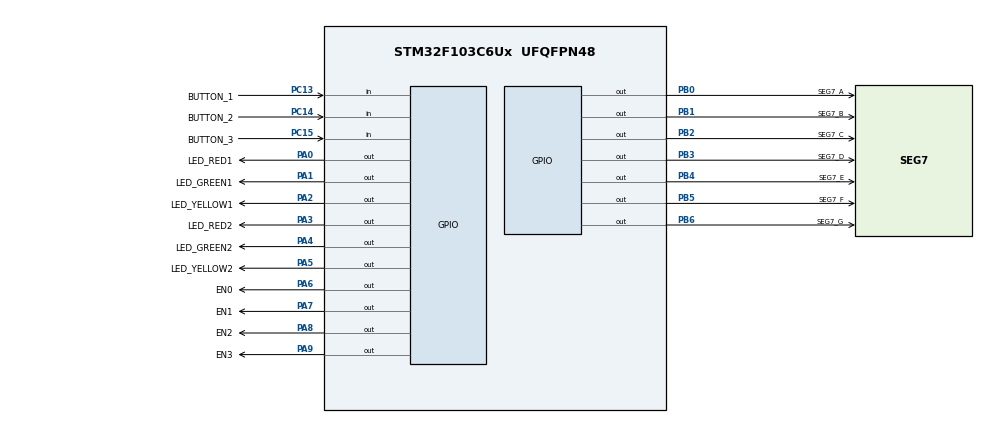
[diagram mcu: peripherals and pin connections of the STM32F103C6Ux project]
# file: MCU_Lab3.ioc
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Mcu.Family=STM32F1
Mcu.Name=STM32F103C6Ux
Mcu.Package=UFQFPN48
NVIC.PriorityGroup=NVIC_PRIORITYGROUP_4
NVIC.TIM2_IRQn=true\:0\:0\:false\:false\:true\:true\:true
PA0-WKUP.GPIO_Label=LED_RED1
PA0-WKUP.Signal=GPIO_Output
PA1.GPIO_Label=LED_GREEN1
PA1.Signal=GPIO_Output
PA2.GPIO_Label=LED_YELLOW1
PA2.Signal=GPIO_Output
PA3.GPIO_Label=LED_RED2
PA3.Signal=GPIO_Output
PA4.GPIO_Label=LED_GREEN2
PA4.Signal=GPIO_Output
PA5.GPIO_Label=LED_YELLOW2
PA5.Signal=GPIO_Output
PA6.GPIO_Label=EN0
PA6.Signal=GPIO_Output
PA7.GPIO_Label=EN1
PA7.Signal=GPIO_Output
PA8.GPIO_Label=EN2
PA8.Signal=GPIO_Output
PA9.GPIO_Label=EN3
PA9.Signal=GPIO_Output
PB0.GPIO_Label=SEG7_A
PB0.Signal=GPIO_Output
PB1.GPIO_Label=SEG7_B
PB1.Signal=GPIO_Output
PB2.GPIO_Label=SEG7_C
PB2.Signal=GPIO_Output
PB3.GPIO_Label=SEG7_D
PB3.Signal=GPIO_Output
PB4.GPIO_Label=SEG7_E
PB4.Signal=GPIO_Output
PB5.GPIO_Label=SEG7_F
PB5.Signal=GPIO_Output
PB6.GPIO_Label=SEG7_G
PB6.Signal=GPIO_Output
PC13-TAMPER-RTC.GPIO_Label=BUTTON_1
PC13-TAMPER-RTC.GPIO_PuPd=GPIO_PULLUP
PC13-TAMPER-RTC.Signal=GPIO_Input
PC14-OSC32_IN.GPIO_Label=BUTTON_2
PC14-OSC32_IN.GPIO_PuPd=GPIO_PULLUP
PC14-OSC32_IN.Signal=GPIO_Input
PC15-OSC32_OUT.GPIO_Label=BUTTON_3
PC15-OSC32_OUT.GPIO_PuPd=GPIO_PULLUP
PC15-OSC32_OUT.Signal=GPIO_Input
ProjectManager.HeapSize=0x200
ProjectManager.StackSize=0x400
ProjectManager.TargetToolchain=STM32CubeIDE
RCC.APB1Freq_Value=8000000
RCC.APB2Freq_Value=8000000
TIM2.Period=9
TIM2.Prescaler=7999
VP_SYS_VS_ND.Mode=No_Debug
VP_TIM2_VS_ClockSourceINT.Mode=Internal
board=custom

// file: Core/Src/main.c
/* USER CODE BEGIN Header */
/**
  ******************************************************************************
  * @file           : main.c
  * @brief          : Main program body
  ******************************************************************************
  * @attention
  *
  * <h2><center>&copy; Copyright (c) 2023 STMicroelectronics.
  * All rights reserved.</center></h2>
  *
  * This software component is licensed by ST under BSD 3-Clause license,
  * the "License"; You may not use this file except in compliance with the
  * License. You may obtain a copy of the License at:
  *                        opensource.org/licenses/BSD-3-Clause
  *
  ******************************************************************************
  */
/* USER CODE END Header */
#include "main.h"

/* USER CODE BEGIN Includes */
#include "software_timer.h"
#include "button.h"
#include "fsm_automatic.h"
#include "fsm_manual.h"
/* USER CODE END Includes */

TIM_HandleTypeDef htim2;

void SystemClock_Config(void);
static void MX_GPIO_Init(void);
static void MX_TIM2_Init(void);

int main(void)
{

  /* MCU Configuration--------------------------------------------------------*/

  /* Reset of all peripherals, Initializes the Flash interface and the Systick. */
  HAL_Init();

  /* Configure the system clock */
  SystemClock_Config();

  /* Initialize all configured peripherals */
  MX_GPIO_Init();
  MX_TIM2_Init();
  /* USER CODE BEGIN 2 */
  HAL_TIM_Base_Start_IT(&htim2);
  /* USER CODE END 2 */

  /* Infinite loop */
  /* USER CODE BEGIN WHILE */
  status = INIT;
  setTimer(250, 1);
  while (1)
  {
//	  if(HAL_GPIO_ReadPin(BUTTON_1_GPIO_Port, BUTTON_1_Pin) == GPIO_PIN_RESET){
//		  HAL_GPIO_TogglePin(LED_RED1_GPIO_Port, LED_RED1_Pin);
//	  }

//	  if(isButton1Pressed(0) == 1){
//		  HAL_GPIO_TogglePin(LED_RED1_GPIO_Port, LED_RED1_Pin);
//	  }
//	  if(isButton1Pressed(1) == 1){
//		  HAL_GPIO_TogglePin(LED_GREEN1_GPIO_Port, LED_GREEN1_Pin);
//	  }
//	  if(isButton1Pressed(2) == 1){
//		  HAL_GPIO_TogglePin(LED_YELLOW1_GPIO_Port, LED_YELLOW1_Pin);
//	  }

	  fsm_automatic_run();
	  fsm_manual_run();
	  if(timer_flag[1] == 1){
	  		setTimer(250, 1);
	  		update7SEG(index_led);
	  		index_led++;
	  		if(index_led >= MAX_LED) index_led = 0;
	  }

    /* USER CODE END WHILE */

  }
}

void SystemClock_Config(void)
{
  RCC_OscInitTypeDef RCC_OscInitStruct = {0};
  RCC_ClkInitTypeDef RCC_ClkInitStruct = {0};

  /** Initializes the RCC Oscillators according to the specified parameters
  * in the RCC_OscInitTypeDef structure.
  */
  RCC_OscInitStruct.OscillatorType = RCC_OSCILLATORTYPE_HSI;
  RCC_OscInitStruct.HSIState = RCC_HSI_ON;
  RCC_OscInitStruct.HSICalibrationValue = RCC_HSICALIBRATION_DEFAULT;
  RCC_OscInitStruct.PLL.PLLState = RCC_PLL_NONE;
  if (HAL_RCC_OscConfig(&RCC_OscInitStruct) != HAL_OK)
  {
    Error_Handler();
  }
  /** Initializes the CPU, AHB and APB buses clocks
  */
  RCC_ClkInitStruct.ClockType = RCC_CLOCKTYPE_HCLK|RCC_CLOCKTYPE_SYSCLK
                              |RCC_CLOCKTYPE_PCLK1|RCC_CLOCKTYPE_PCLK2;
  RCC_ClkInitStruct.SYSCLKSource = RCC_SYSCLKSOURCE_HSI;
  RCC_ClkInitStruct.AHBCLKDivider = RCC_SYSCLK_DIV1;
  RCC_ClkInitStruct.APB1CLKDivider = RCC_HCLK_DIV1;
  RCC_ClkInitStruct.APB2CLKDivider = RCC_HCLK_DIV1;

  if (HAL_RCC_ClockConfig(&RCC_ClkInitStruct, FLASH_LATENCY_0) != HAL_OK)
  {
    Error_Handler();
  }
}

static void MX_TIM2_Init(void)
{

  TIM_ClockConfigTypeDef sClockSourceConfig = {0};
  TIM_MasterConfigTypeDef sMasterConfig = {0};

  htim2.Instance = TIM2;
  htim2.Init.Prescaler = 7999;
  htim2.Init.CounterMode = TIM_COUNTERMODE_UP;
  htim2.Init.Period = 9;
  htim2.Init.ClockDivision = TIM_CLOCKDIVISION_DIV1;
  htim2.Init.AutoReloadPreload = TIM_AUTORELOAD_PRELOAD_DISABLE;
  if (HAL_TIM_Base_Init(&htim2) != HAL_OK)
  {
    Error_Handler();
  }
  sClockSourceConfig.ClockSource = TIM_CLOCKSOURCE_INTERNAL;
  if (HAL_TIM_ConfigClockSource(&htim2, &sClockSourceConfig) != HAL_OK)
  {
    Error_Handler();
  }
  sMasterConfig.MasterOutputTrigger = TIM_TRGO_RESET;
  sMasterConfig.MasterSlaveMode = TIM_MASTERSLAVEMODE_DISABLE;
  if (HAL_TIMEx_MasterConfigSynchronization(&htim2, &sMasterConfig) != HAL_OK)
  {
    Error_Handler();
  }

}

static void MX_GPIO_Init(void)
{
  GPIO_InitTypeDef GPIO_InitStruct = {0};

  /* GPIO Ports Clock Enable */
  __HAL_RCC_GPIOC_CLK_ENABLE();
  __HAL_RCC_GPIOA_CLK_ENABLE();
  __HAL_RCC_GPIOB_CLK_ENABLE();

  /*Configure GPIO pin Output Level */
  HAL_GPIO_WritePin(GPIOA, LED_RED1_Pin|LED_GREEN1_Pin|LED_YELLOW1_Pin|LED_RED2_Pin
                          |LED_GREEN2_Pin|LED_YELLOW2_Pin|EN0_Pin|EN1_Pin
                          |EN2_Pin|EN3_Pin, GPIO_PIN_RESET);

  /*Configure GPIO pin Output Level */
  HAL_GPIO_WritePin(GPIOB, SEG7_A_Pin|SEG7_B_Pin|SEG7_C_Pin|SEG7_D_Pin
                          |SEG7_E_Pin|SEG7_F_Pin|SEG7_G_Pin, GPIO_PIN_RESET);

  /*Configure GPIO pins : BUTTON_1_Pin BUTTON_2_Pin BUTTON_3_Pin */
  GPIO_InitStruct.Pin = BUTTON_1_Pin|BUTTON_2_Pin|BUTTON_3_Pin;
  GPIO_InitStruct.Mode = GPIO_MODE_INPUT;
  GPIO_InitStruct.Pull = GPIO_PULLUP;
  HAL_GPIO_Init(GPIOC, &GPIO_InitStruct);

  /*Configure GPIO pins : LED_RED1_Pin LED_GREEN1_Pin LED_YELLOW1_Pin LED_RED2_Pin
                           LED_GREEN2_Pin LED_YELLOW2_Pin EN0_Pin EN1_Pin
                           EN2_Pin EN3_Pin */
  GPIO_InitStruct.Pin = LED_RED1_Pin|LED_GREEN1_Pin|LED_YELLOW1_Pin|LED_RED2_Pin
                          |LED_GREEN2_Pin|LED_YELLOW2_Pin|EN0_Pin|EN1_Pin
                          |EN2_Pin|EN3_Pin;
  GPIO_InitStruct.Mode = GPIO_MODE_OUTPUT_PP;
  GPIO_InitStruct.Pull = GPIO_NOPULL;
  GPIO_InitStruct.Speed = GPIO_SPEED_FREQ_LOW;
  HAL_GPIO_Init(GPIOA, &GPIO_InitStruct);

  /*Configure GPIO pins : SEG7_A_Pin SEG7_B_Pin SEG7_C_Pin SEG7_D_Pin
                           SEG7_E_Pin SEG7_F_Pin SEG7_G_Pin */
  GPIO_InitStruct.Pin = SEG7_A_Pin|SEG7_B_Pin|SEG7_C_Pin|SEG7_D_Pin
                          |SEG7_E_Pin|SEG7_F_Pin|SEG7_G_Pin;
  GPIO_InitStruct.Mode = GPIO_MODE_OUTPUT_PP;
  GPIO_InitStruct.Pull = GPIO_NOPULL;
  GPIO_InitStruct.Speed = GPIO_SPEED_FREQ_LOW;
  HAL_GPIO_Init(GPIOB, &GPIO_InitStruct);

}

/* USER CODE BEGIN 4 */
void HAL_TIM_PeriodElapsedCallback(TIM_HandleTypeDef *htim){
	timerRun();
	getKeyInput();
}
/* USER CODE END 4 */

void Error_Handler(void)
{
  __disable_irq();
  while (1)
  {
  }
}

/************************ (C) COPYRIGHT STMicroelectronics *****END OF FILE****/
